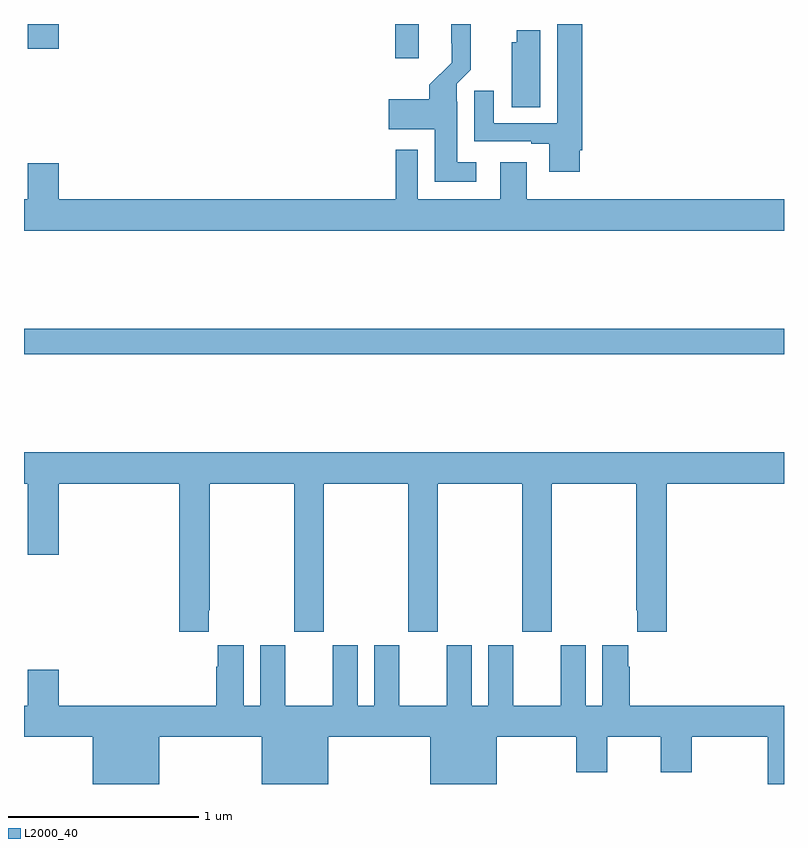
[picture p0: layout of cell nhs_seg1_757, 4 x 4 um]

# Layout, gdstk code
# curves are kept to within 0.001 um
import gdstk
lib = gdstk.Library(unit=1e-6, precision=1e-09)
def R(c, l, rs):  # rectangles x0, y0, x1, y1
    for r in rs: c.add(gdstk.rectangle(r[:2], r[2:], *l))
def P(c, l, *ps):  # polygons
    for p in ps: c.add(gdstk.Polygon(p, *l))
L2000_40 = (2000, 40)

nhs_seg1_757 = lib.new_cell('nhs_seg1_757')
R(nhs_seg1_757, L2000_40, [(153,504.46,157,504.596), (154.955,506.019,155.077,506.199), (153.02,506.07,153.184,506.199)])
P(nhs_seg1_757, L2000_40, [(155.926,505.534),(155.939,505.534),(155.939,506.199),(155.807,506.199),(155.807,505.677),(155.473,505.677),(155.473,505.849),(155.369,505.849),(155.369,505.581),(155.669,505.581),(155.669,505.569),(155.765,505.569),(155.765,505.422),(155.926,505.422)],
  [(155.38,505.471),(155.281,505.471),(155.281,505.79),(155.277,505.79),(155.277,505.884),(155.351,505.958),(155.351,506.199),(155.249,506.199),(155.25,505.996),(155.132,505.878),(155.132,505.804),(154.92,505.804),(154.92,505.646),(155.162,505.646),(155.162,505.37),(155.38,505.37)],
  [(155.716,506.167),(155.594,506.167),(155.594,506.103),(155.567,506.103),(155.567,505.762),(155.716,505.762)],
  [(157,505.276),(155.647,505.276),(155.647,505.471),(155.507,505.471),(155.507,505.276),(155.073,505.276),(155.073,505.537),(154.957,505.537),(154.957,505.276),(153.184,505.276),(153.184,505.465),(153.02,505.465),(153.02,505.276),(153,505.276),(153,505.112),(157,505.112)],
  [(153,503.78),(153.02,503.78),(153.02,503.406),(153.184,503.406),(153.184,503.78),(153.818,503.78),(153.818,503.001),(153.973,503.001),(153.973,503.113),(153.978,503.113),(153.978,503.78),(154.423,503.78),(154.423,503.001),(154.578,503.001),(154.578,503.78),(155.023,503.78),(155.023,503.001),(155.178,503.001),(155.178,503.78),(155.623,503.78),(155.623,503.001),(155.778,503.001),(155.778,503.78),(156.223,503.78),(156.223,503.113),(156.227,503.113),(156.227,503.001),(156.383,503.001),(156.383,503.78),(157,503.78),(157,503.944),(153,503.944)],
  [(153.712,502.448),(154.25,502.448),(154.25,502.199),(154.6,502.199),(154.6,502.448),(155.138,502.448),(155.138,502.199),(155.488,502.199),(155.488,502.448),(155.906,502.448),(155.906,502.26),(156.07,502.26),(156.07,502.448),(156.35,502.448),(156.35,502.26),(156.514,502.26),(156.514,502.448),(156.914,502.448),(156.914,502.199),(157,502.199),(157,502.612),(156.188,502.612),(156.188,502.817),(156.181,502.817),(156.181,502.93),(156.044,502.93),(156.044,502.612),(155.956,502.612),(155.956,502.93),(155.825,502.93),(155.825,502.612),(155.575,502.612),(155.575,502.93),(155.444,502.93),(155.444,502.612),(155.356,502.612),(155.356,502.93),(155.225,502.93),(155.225,502.612),(154.975,502.612),(154.975,502.93),(154.844,502.93),(154.844,502.612),(154.756,502.612),(154.756,502.93),(154.625,502.93),(154.625,502.612),(154.375,502.612),(154.375,502.93),(154.244,502.93),(154.244,502.612),(154.156,502.612),(154.156,502.93),(154.019,502.93),(154.019,502.817),(154.013,502.817),(154.013,502.612),(153.184,502.612),(153.184,502.801),(153.02,502.801),(153.02,502.612),(153,502.612),(153,502.448),(153.362,502.448),(153.362,502.199),(153.712,502.199)])

lib.write_gds('nhs_seg1_757.gds')
